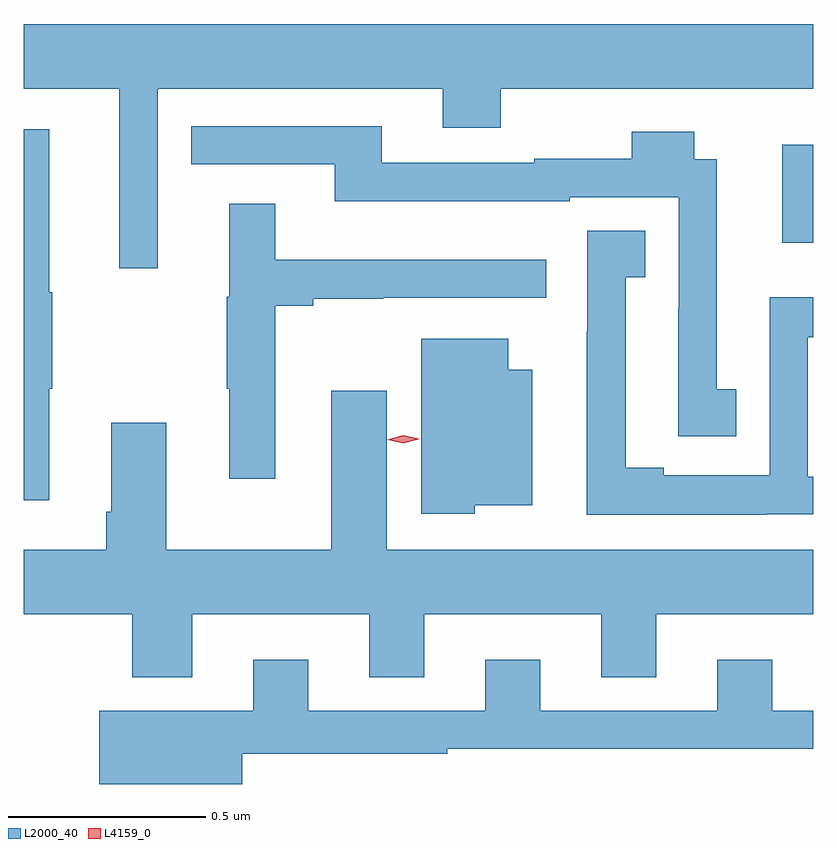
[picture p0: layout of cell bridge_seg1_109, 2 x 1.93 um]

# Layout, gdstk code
import gdstk
lib = gdstk.Library(unit=1e-6, precision=1e-09)
def R(c, l, rs):  # rectangles x0, y0, x1, y1
    for r in rs: c.add(gdstk.rectangle(r[:2], r[2:], *l))
def P(c, l, *ps):  # polygons
    for p in ps: c.add(gdstk.Polygon(p, *l))
L2000_40 = (2000, 40)
L4159_0 = (4159, 0)

bridge_seg1_109 = lib.new_cell('bridge_seg1_109')
R(bridge_seg1_109, L2000_40, [(292.784,532.694,292.862,532.942)])
P(bridge_seg1_109, L2000_40, [(291.201,533.084),(291.923,533.084),(291.923,532.985),(292.071,532.985),(292.071,533.084),(292.862,533.084),(292.862,533.248),(290.862,533.248),(290.862,533.084),(291.104,533.084),(291.104,532.629),(291.201,532.629)],
  [(292.667,532.323),(292.618,532.323),(292.618,532.905),(292.561,532.905),(292.561,532.975),(292.402,532.975),(292.402,532.906),(292.155,532.906),(292.155,532.896),(291.769,532.896),(291.769,532.989),(291.286,532.989),(291.286,532.893),(291.65,532.893),(291.65,532.799),(292.245,532.799),(292.245,532.809),(292.521,532.809),(292.521,532.526),(292.52,532.526),(292.52,532.203),(292.667,532.203)],
  [(290.926,532.324),(290.934,532.324),(290.934,532.568),(290.926,532.568),(290.926,532.981),(290.862,532.981),(290.862,532.041),(290.926,532.041)],
  [(291.499,532.534),(291.595,532.534),(291.595,532.552),(291.773,532.552),(291.773,532.554),(292.186,532.554),(292.186,532.651),(291.499,532.651),(291.499,532.792),(291.383,532.792),(291.383,532.557),(291.376,532.557),(291.376,532.324),(291.383,532.324),(291.383,532.095),(291.499,532.095)],
  [(292.745,532.005),(292.862,532.005),(292.862,532.101),(292.848,532.101),(292.848,532.454),(292.862,532.454),(292.862,532.555),(292.752,532.555),(292.752,532.105),(292.483,532.105),(292.483,532.123),(292.387,532.123),(292.387,532.606),(292.436,532.606),(292.436,532.724),(292.29,532.724),(292.29,532.468),(292.289,532.468),(292.289,532.004),(292.745,532.004)],
  [(292.005,532.028),(292.15,532.028),(292.15,532.372),(292.09,532.372),(292.09,532.45),(291.869,532.45),(291.869,532.007),(292.005,532.007)],
  [(291.877,531.752),(292.325,531.752),(292.325,531.592),(292.465,531.592),(292.465,531.752),(292.862,531.752),(292.862,531.916),(291.781,531.916),(291.781,532.318),(291.641,532.318),(291.641,531.916),(291.223,531.916),(291.223,532.237),(291.083,532.237),(291.083,532.012),(291.071,532.012),(291.071,531.916),(290.862,531.916),(290.862,531.752),(291.137,531.752),(291.137,531.593),(291.289,531.593),(291.289,531.752),(291.737,531.752),(291.737,531.592),(291.877,531.592)],
  [(291.415,531.399),(291.935,531.399),(291.935,531.411),(292.862,531.411),(292.862,531.507),(292.759,531.507),(292.759,531.637),(292.619,531.637),(292.619,531.507),(292.171,531.507),(292.171,531.637),(292.031,531.637),(292.031,531.507),(291.583,531.507),(291.583,531.637),(291.443,531.637),(291.443,531.508),(291.053,531.508),(291.053,531.322),(291.415,531.322)])
P(bridge_seg1_109, L4159_0, [(291.823,532.186),(291.783,532.195),(291.783,532.195),(291.783,532.195),(291.823,532.206),(291.862,532.197),(291.862,532.196),(291.862,532.196)])

lib.write_gds('bridge_seg1_109.gds')
